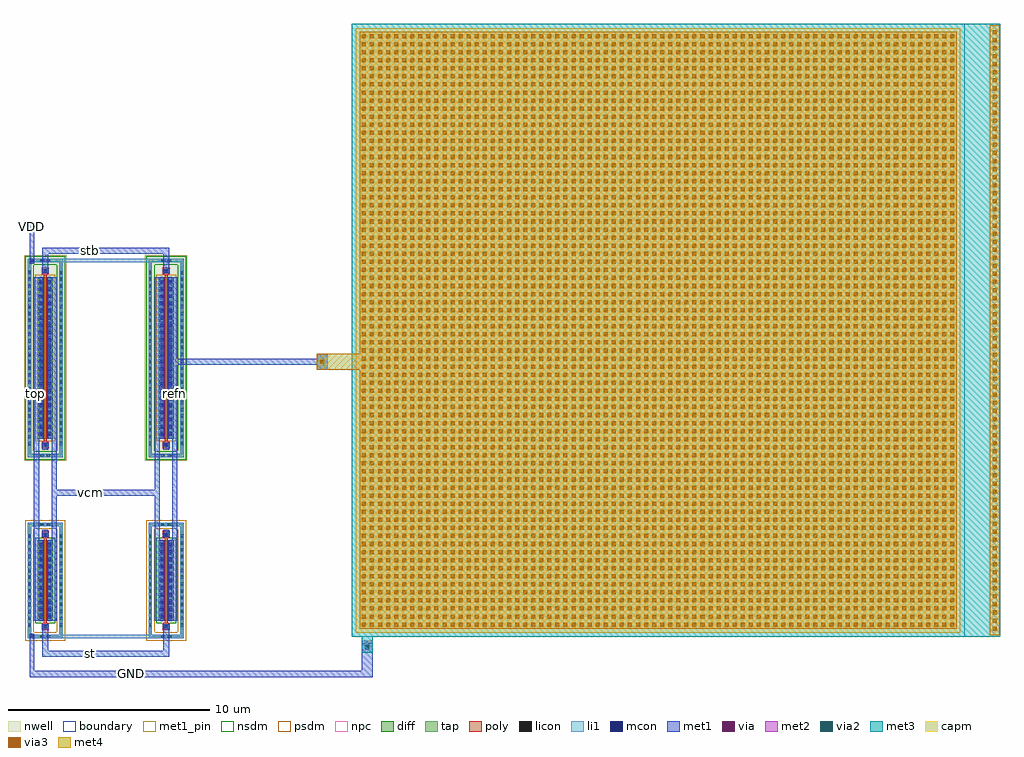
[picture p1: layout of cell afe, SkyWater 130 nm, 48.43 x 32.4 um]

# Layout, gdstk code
import gdstk
lib = gdstk.Library(unit=1e-6, precision=1e-09)
def R(c, l, rs):  # rectangles x0, y0, x1, y1
    for r in rs: c.add(gdstk.rectangle(r[:2], r[2:], *l))
def A(c, l, x, y, w, h, nx, ny, dx, dy):  # array of equal rectangles
    R(c, l, [(x+i*dx, y+j*dy, x+i*dx+w, y+j*dy+h) for i in range(nx) for j in range(ny)])
nwell = (64, 20)
diff = (65, 20)
tap = (65, 44)
poly = (66, 20)
licon = (66, 44)
li1 = (67, 20)
mcon = (67, 44)
met1_pin = (68, 16)
met1 = (68, 20)
via = (68, 44)
met2 = (69, 20)
via2 = (69, 44)
met3 = (70, 20)
via3 = (70, 44)
met4 = (71, 20)
capm = (89, 44)
nsdm = (93, 44)
psdm = (94, 20)
npc = (95, 20)
boundary = (235, 4)

sky130_fd_pr__pfet_01v8_ = lib.new_cell('sky130_fd_pr__pfet_01v8_EA3B65')
R(sky130_fd_pr__pfet_01v8_, nwell, [(-1.055,-5.095,1.055,5.095)])
R(sky130_fd_pr__pfet_01v8_, diff, [(-0.365,-4,0.365,4)])
R(sky130_fd_pr__pfet_01v8_, tap, [(-0.875,-4.915,0.875,-4.745), (-0.875,-4.745,-0.705,4.745), (0.705,-4.745,0.875,4.745), (-0.875,4.745,0.875,4.915)])
R(sky130_fd_pr__pfet_01v8_, poly, [(-0.165,-4.485,0.165,-4.155), (-0.075,-4.155,0.075,4.155), (-0.165,4.155,0.165,4.485)])
A(sky130_fd_pr__pfet_01v8_, licon, -0.875, -4.335, 0.17, 0.17, 1, 26, 0, 0.34)
A(sky130_fd_pr__pfet_01v8_, licon, 0.705, -4.335, 0.17, 0.17, 1, 26, 0, 0.34)
A(sky130_fd_pr__pfet_01v8_, licon, -0.305, -3.825, 0.17, 0.17, 1, 23, 0, 0.34)
A(sky130_fd_pr__pfet_01v8_, licon, 0.135, -3.825, 0.17, 0.17, 1, 23, 0, 0.34)
R(sky130_fd_pr__pfet_01v8_, licon, [(-0.255,-4.915,-0.085,-4.745), (0.085,-4.915,0.255,-4.745), (-0.085,-4.405,0.085,-4.235), (-0.085,4.235,0.085,4.405), (-0.255,4.745,-0.085,4.915), (0.085,4.745,0.255,4.915)])
R(sky130_fd_pr__pfet_01v8_, li1, [(-0.875,-4.915,0.875,-4.745), (-0.875,-4.745,-0.705,4.745), (0.705,-4.745,0.875,4.745), (-0.165,-4.405,0.165,-4.235), (-0.305,-4.02,-0.135,4.02), (0.135,-4.02,0.305,4.02), (-0.165,4.235,0.165,4.405), (-0.875,4.745,0.875,4.915)])
A(sky130_fd_pr__pfet_01v8_, mcon, -0.305, -3.865, 0.17, 0.17, 1, 22, 0, 0.36)
A(sky130_fd_pr__pfet_01v8_, mcon, 0.135, -3.865, 0.17, 0.17, 1, 22, 0, 0.36)
R(sky130_fd_pr__pfet_01v8_, mcon, [(-0.085,-4.405,0.085,-4.235), (-0.085,4.235,0.085,4.405)])
R(sky130_fd_pr__pfet_01v8_, met1, [(-0.145,-4.435,0.145,-4.205), (-0.335,-4,-0.105,4), (0.105,-4,0.335,4), (-0.145,4.205,0.145,4.435)])
R(sky130_fd_pr__pfet_01v8_, nsdm, [(-1,-5.04,1,-4.62), (-1,-4.62,-0.58,4.62), (0.58,-4.62,1,4.62), (-1,4.62,1,5.04)])
R(sky130_fd_pr__pfet_01v8_, psdm, [(-0.49,-4.125,0.49,4.125)])
R(sky130_fd_pr__pfet_01v8_, npc, [(-0.185,-4.505,0.185,-4.135), (-0.185,4.135,0.185,4.505)])
R(sky130_fd_pr__pfet_01v8_, boundary, [(-0.79,-4.83,0.79,4.83)])
sky130_fd_pr__pfet_01v8_.add(gdstk.Label('B', (0,-4.83), layer=67, texttype=5))
sky130_fd_pr__pfet_01v8_.add(gdstk.Label('D', (-0.22,0), layer=67, texttype=5))
sky130_fd_pr__pfet_01v8_.add(gdstk.Label('S', (0.22,0), layer=67, texttype=5))
sky130_fd_pr__pfet_01v8_.add(gdstk.Label('G', (0,4.32), layer=67, texttype=5))

sky130_fd_pr__nfet_01v8_ = lib.new_cell('sky130_fd_pr__nfet_01v8_JSF6K7')
R(sky130_fd_pr__nfet_01v8_, diff, [(-0.365,-2,0.365,2)])
R(sky130_fd_pr__nfet_01v8_, tap, [(-0.875,-2.87,0.875,-2.7), (-0.875,-2.7,-0.705,2.7), (0.705,-2.7,0.875,2.7), (-0.875,2.7,0.875,2.87)])
R(sky130_fd_pr__nfet_01v8_, poly, [(-0.165,-2.44,0.165,-2.11), (-0.075,-2.11,0.075,2.11), (-0.165,2.11,0.165,2.44)])
A(sky130_fd_pr__nfet_01v8_, licon, -0.875, -2.295, 0.17, 0.17, 1, 14, 0, 0.34)
A(sky130_fd_pr__nfet_01v8_, licon, 0.705, -2.295, 0.17, 0.17, 1, 14, 0, 0.34)
A(sky130_fd_pr__nfet_01v8_, licon, -0.305, -1.785, 0.17, 0.17, 1, 11, 0, 0.34)
A(sky130_fd_pr__nfet_01v8_, licon, 0.135, -1.785, 0.17, 0.17, 1, 11, 0, 0.34)
R(sky130_fd_pr__nfet_01v8_, licon, [(-0.255,-2.87,-0.085,-2.7), (0.085,-2.87,0.255,-2.7), (-0.085,-2.36,0.085,-2.19), (-0.085,2.19,0.085,2.36), (-0.255,2.7,-0.085,2.87), (0.085,2.7,0.255,2.87)])
R(sky130_fd_pr__nfet_01v8_, li1, [(-0.875,-2.87,0.875,-2.7), (-0.875,-2.7,-0.705,2.7), (0.705,-2.7,0.875,2.7), (-0.165,-2.36,0.165,-2.19), (-0.305,-2.02,-0.135,2.02), (0.135,-2.02,0.305,2.02), (-0.165,2.19,0.165,2.36), (-0.875,2.7,0.875,2.87)])
A(sky130_fd_pr__nfet_01v8_, mcon, -0.305, -1.885, 0.17, 0.17, 1, 11, 0, 0.36)
A(sky130_fd_pr__nfet_01v8_, mcon, 0.135, -1.885, 0.17, 0.17, 1, 11, 0, 0.36)
R(sky130_fd_pr__nfet_01v8_, mcon, [(-0.085,-2.36,0.085,-2.19), (-0.085,2.19,0.085,2.36)])
R(sky130_fd_pr__nfet_01v8_, met1, [(-0.145,-2.39,0.145,-2.16), (-0.335,-2,-0.105,2), (0.105,-2,0.335,2), (-0.145,2.16,0.145,2.39)])
R(sky130_fd_pr__nfet_01v8_, nsdm, [(-0.49,-2.125,0.49,2.125)])
R(sky130_fd_pr__nfet_01v8_, psdm, [(-1,-2.995,1,-2.575), (-1,-2.575,-0.58,2.575), (0.58,-2.575,1,2.575), (-1,2.575,1,2.995)])
R(sky130_fd_pr__nfet_01v8_, npc, [(-0.185,-2.46,0.185,-2.09), (-0.185,2.09,0.185,2.46)])
R(sky130_fd_pr__nfet_01v8_, boundary, [(-0.79,-2.785,0.79,2.785)])
sky130_fd_pr__nfet_01v8_.add(gdstk.Label('B', (0,-2.785), layer=67, texttype=5))
sky130_fd_pr__nfet_01v8_.add(gdstk.Label('D', (-0.22,0), layer=67, texttype=5))
sky130_fd_pr__nfet_01v8_.add(gdstk.Label('S', (0.22,0), layer=67, texttype=5))
sky130_fd_pr__nfet_01v8_.add(gdstk.Label('G', (0,2.275), layer=67, texttype=5))

sky130_fd_pr__cap_mim_m3 = lib.new_cell('sky130_fd_pr__cap_mim_m3_1_LFDY3D')
R(sky130_fd_pr__cap_mim_m3, met3, [(-16.08,-15.2,16.08,15.2)])
A(sky130_fd_pr__cap_mim_m3, via3, 15.72, -14.9, 0.2, 0.2, 1, 75, 0, 0.4)
A(sky130_fd_pr__cap_mim_m3, via3, -15.58, -14.7, 0.2, 0.2, 74, 74, 0.4, 0.4)
R(sky130_fd_pr__cap_mim_m3, met4, [(15.58,-15.14,16.06,15.14), (-15.685,-14.805,13.925,14.805)])
R(sky130_fd_pr__cap_mim_m3, capm, [(-15.88,-15,14.12,15)])
R(sky130_fd_pr__cap_mim_m3, boundary, [(-16.08,-15.2,14.32,15.2)])
sky130_fd_pr__cap_mim_m3.add(gdstk.Label('C2', (15.82,0), layer=71, texttype=5))
sky130_fd_pr__cap_mim_m3.add(gdstk.Label('C1', (-0.88,0), layer=71, texttype=5))

afe = lib.new_cell('afe')
R(afe, li1, [(0.05,-0.085,0.22,0.085), (1.665,-0.085,5.915,0.085), (0.05,18.575,0.22,18.745), (1.665,18.575,5.915,18.745)])
R(afe, mcon, [(0.05,-0.085,0.22,0.085), (0.05,18.575,0.22,18.745)])
R(afe, met1_pin, [(5,-1.9,5.1,-1.8), (3,-0.9,3.1,-0.8), (3,7.1,3.1,7.2), (0.28,12,0.38,12.1), (7.15,12,7.25,12.1), (3,19.1,3.1,19.2), (0.08,20.3,0.18,20.4)])
R(afe, met1, [(0.02,-2,17.05,-1.7), (0.02,-1.7,0.25,0.145), (16.5,-1.7,17.05,-0.3), (0.645,-1,6.935,-0.7), (0.645,-0.7,0.935,0.625), (6.645,-0.7,6.935,0.625), (0.23,0.785,0.685,4.785), (0.895,0.785,1.35,4.785), (6.23,0.785,6.685,4.785), (6.895,0.785,7.35,4.785), (0.23,4.785,0.48,9.83), (1.1,4.785,1.35,7), (6.23,4.785,6.48,7), (7.1,4.785,7.35,9.83), (0.645,4.945,0.935,5.3), (6.645,4.945,6.935,5.3), (1.1,7,6.48,7.3), (1.1,7.3,1.35,9.83), (6.23,7.3,6.48,9.83), (0.645,9.27,0.935,9.625), (6.645,9.27,6.935,9.625), (0.23,9.83,0.685,17.83), (0.895,9.83,1.35,17.83), (6.23,9.83,6.685,17.83), (6.895,9.83,7.35,13.5), (14.25,13.25,14.8,13.5), (6.895,13.5,14.8,13.8), (6.895,13.8,7.35,17.83), (14.25,13.8,14.8,14.05), (0.645,18.035,0.935,19), (6.645,18.035,6.935,19), (0.02,18.515,0.25,20.5), (0.645,19,6.935,19.3)])
R(afe, via, [(16.7,-0.645,16.85,-0.495), (14.45,13.575,14.6,13.725)])
R(afe, met2, [(16.5,-0.8,17.05,-0.2), (14.25,13.25,14.8,14.05)])
R(afe, via2, [(16.675,-0.6,16.875,-0.4), (14.425,13.55,14.625,13.75)])
R(afe, met3, [(16.5,-0.8,17.05,0.1), (14.25,13.25,14.8,14.05)])
R(afe, via3, [(14.425,13.55,14.625,13.75)])
R(afe, met4, [(14.25,13.25,17,14.05)])
afe.add(gdstk.Reference(sky130_fd_pr__pfet_01v8_, (6.79,13.83)))
afe.add(gdstk.Reference(sky130_fd_pr__nfet_01v8_, (6.79,2.785)))
afe.add(gdstk.Reference(sky130_fd_pr__pfet_01v8_, (0.79,13.83)))
afe.add(gdstk.Reference(sky130_fd_pr__nfet_01v8_, (0.79,2.785)))
afe.add(gdstk.Reference(sky130_fd_pr__cap_mim_m3, (32.08,15.2)))
afe.add(gdstk.Label('top', (0.33,12.05), layer=68, texttype=5))
afe.add(gdstk.Label('refn', (7.2,12.05), layer=68, texttype=5))
afe.add(gdstk.Label('vcm', (3.05,7.15), layer=68, texttype=5))
afe.add(gdstk.Label('st', (3.05,-0.85), layer=68, texttype=5))
afe.add(gdstk.Label('stb', (3.05,19.15), layer=68, texttype=5))
afe.add(gdstk.Label('VDD', (0.13,20.35), layer=68, texttype=5))
afe.add(gdstk.Label('GND', (5.05,-1.85), layer=68, texttype=5))

lib.write_gds('afe.gds')
